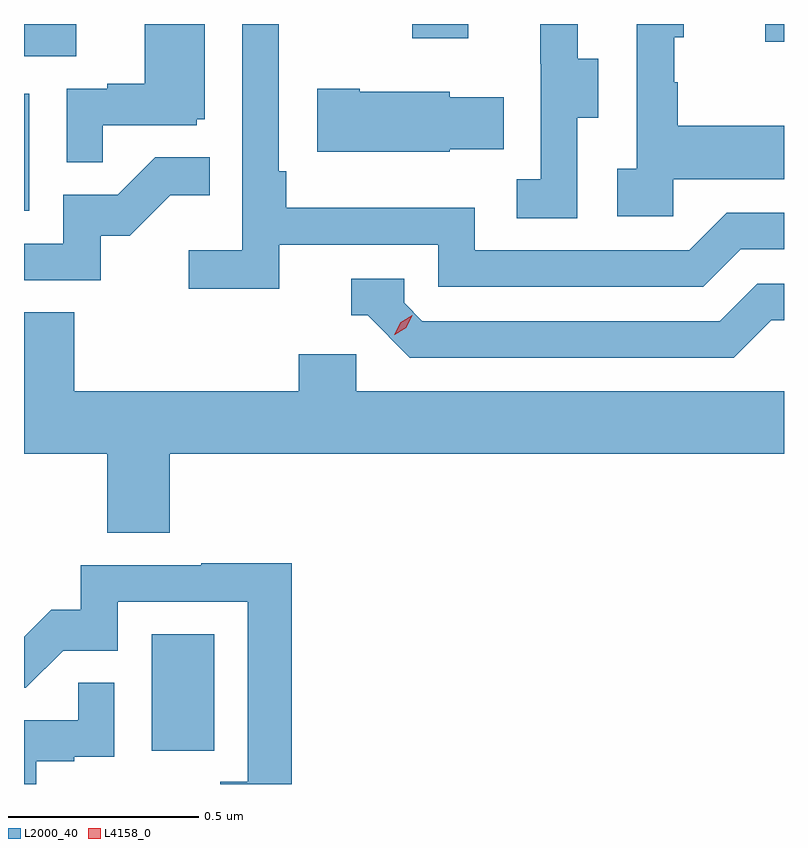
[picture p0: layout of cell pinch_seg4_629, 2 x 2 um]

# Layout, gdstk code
import gdstk
lib = gdstk.Library(unit=1e-6, precision=1e-09)
def R(c, l, rs):  # rectangles x0, y0, x1, y1
    for r in rs: c.add(gdstk.rectangle(r[:2], r[2:], *l))
def P(c, l, *ps):  # polygons
    for p in ps: c.add(gdstk.Polygon(p, *l))
L2000_40 = (2000, 40)
L4158_0 = (4158, 0)

pinch_seg4_629 = lib.new_cell('pinch_seg4_629')
R(pinch_seg4_629, L2000_40, [(1070.678,761.406,1070.842,761.713), (1070.342,762.828,1070.356,763.135), (1070.342,763.234,1070.479,763.319), (1072.292,763.272,1072.342,763.319), (1071.364,763.281,1071.511,763.319)])
P(pinch_seg4_629, L2000_40, [(1071.798,763.072),(1071.853,763.072),(1071.853,763.227),(1071.799,763.227),(1071.799,763.319),(1071.701,763.319),(1071.701,763.215),(1071.702,763.215),(1071.702,762.911),(1071.639,762.911),(1071.639,762.808),(1071.798,762.808)],
  [(1070.549,763.053),(1070.796,763.053),(1070.796,763.068),(1070.818,763.068),(1070.818,763.319),(1070.66,763.319),(1070.66,763.162),(1070.561,763.162),(1070.561,763.149),(1070.454,763.149),(1070.454,762.955),(1070.549,762.955)],
  [(1072.05,762.911),(1072.342,762.911),(1072.342,763.051),(1072.063,763.051),(1072.063,763.166),(1072.053,763.166),(1072.053,763.284),(1072.078,763.284),(1072.078,763.319),(1071.954,763.319),(1071.954,762.938),(1071.903,762.938),(1071.903,762.813),(1072.05,762.813)],
  [(1071.014,762.738),(1071.432,762.738),(1071.432,762.627),(1072.129,762.627),(1072.228,762.726),(1072.342,762.726),(1072.342,762.822),(1072.191,762.822),(1072.092,762.723),(1071.528,762.723),(1071.528,762.835),(1071.032,762.835),(1071.032,762.931),(1071.012,762.931),(1071.012,763.319),(1070.916,763.319),(1070.916,762.724),(1070.775,762.724),(1070.775,762.622),(1071.014,762.622)],
  [(1071.462,762.989),(1071.605,762.989),(1071.605,763.126),(1071.462,763.126),(1071.462,763.141),(1071.226,763.141),(1071.226,763.149),(1071.114,763.149),(1071.114,762.983),(1071.462,762.983)],
  [(1070.544,762.762),(1070.62,762.762),(1070.727,762.869),(1070.831,762.869),(1070.831,762.968),(1070.687,762.968),(1070.589,762.87),(1070.445,762.87),(1070.445,762.741),(1070.342,762.741),(1070.342,762.645),(1070.544,762.645)],
  [(1072.309,762.54),(1072.342,762.54),(1072.342,762.636),(1072.272,762.636),(1072.173,762.537),(1071.39,762.537),(1071.342,762.585),(1071.342,762.648),(1071.203,762.648),(1071.203,762.552),(1071.246,762.552),(1071.357,762.441),(1072.21,762.441)],
  [(1070.726,762.188),(1072.342,762.188),(1072.342,762.352),(1071.216,762.352),(1071.216,762.45),(1071.065,762.45),(1071.065,762.352),(1070.474,762.352),(1070.474,762.56),(1070.342,762.56),(1070.342,762.188),(1070.561,762.188),(1070.561,761.98),(1070.726,761.98)],
  [(1071.047,761.9),(1070.809,761.9),(1070.809,761.895),(1070.491,761.895),(1070.491,761.778),(1070.414,761.778),(1070.342,761.706),(1070.342,761.572),(1070.347,761.572),(1070.445,761.67),(1070.589,761.67),(1070.589,761.799),(1070.931,761.799),(1070.931,761.325),(1070.859,761.325),(1070.859,761.319),(1071.047,761.319)],
  [(1070.374,761.379),(1070.474,761.379),(1070.474,761.391),(1070.58,761.391),(1070.58,761.585),(1070.485,761.585),(1070.485,761.487),(1070.342,761.487),(1070.342,761.319),(1070.374,761.319)])
P(pinch_seg4_629, L4158_0, [(1071.316,762.501),(1071.316,762.501),(1071.333,762.534),(1071.364,762.553),(1071.364,762.553),(1071.364,762.552),(1071.348,762.52),(1071.317,762.501)])

lib.write_gds('pinch_seg4_629.gds')
